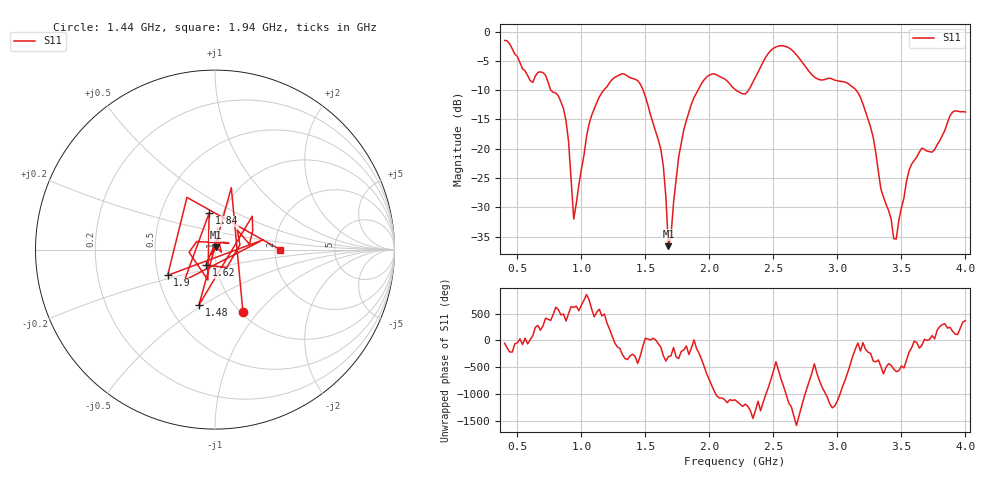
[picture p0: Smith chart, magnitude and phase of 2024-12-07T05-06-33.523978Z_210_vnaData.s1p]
!Created with skrf (http://scikit-rf.org).
# Hz S RI R 50.0
!freq ReS11 ImS11
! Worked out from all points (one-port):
!   181 points, 400 MHz to 4 GHz, reference 50 ohm
!   lowest |S11| = -36.6 dB at 1.68 GHz (marker M1), VSWR 1.03, Z = 50.7 + j1.32 ohm
!   |S11| at or under -10 dB: 760.1 MHz to 1.175 GHz (415.2 MHz wide, 42.9 % of centre); 1.482 GHz to 1.911 GHz (428.6 MHz wide, 25.3 % of centre); 3.146 GHz to end of sweep (the widest 3 of 4)
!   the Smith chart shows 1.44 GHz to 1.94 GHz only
!   S11 on the Smith chart (normalised r, x): 1.44 GHz: 1.02, -0.84; 1.48 GHz: 0.70, -0.48; 1.62 GHz: 0.89, -0.16; 1.84 GHz: 0.86, +0.37; 1.9 GHz: 0.56, -0.18; 1.94 GHz: 2.14, +0.00
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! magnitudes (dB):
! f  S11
! 400 MHz  -1.5
! 720 MHz  -7.5
! 860 MHz  -13.1
! 900 MHz  -18.8
! 940 MHz  -32.0
! 1.08 GHz  -14.3
! 1.3 GHz  -7.4
! 1.44 GHz  -8.4
! 1.48 GHz  -9.9
! 1.62 GHz  -20.0
! 1.66 GHz  -28.2
! 1.68 GHz  -36.6
! 1.76 GHz  -21.4
! 1.84 GHz  -13.7
! 1.9 GHz  -10.4
! 1.94 GHz  -8.8
! 2.2 GHz  -9.9
! 2.3 GHz  -10.2
! 2.5 GHz  -2.9
! 2.66 GHz  -3.5
! 2.84 GHz  -8.0
! 3.1 GHz  -9.2
! 3.26 GHz  -16.4
! 3.44 GHz  -35.3
! 3.56 GHz  -23.7
! 3.76 GHz  -20.1
! 3.9 GHz  -13.7
! 4 GHz  -13.7
